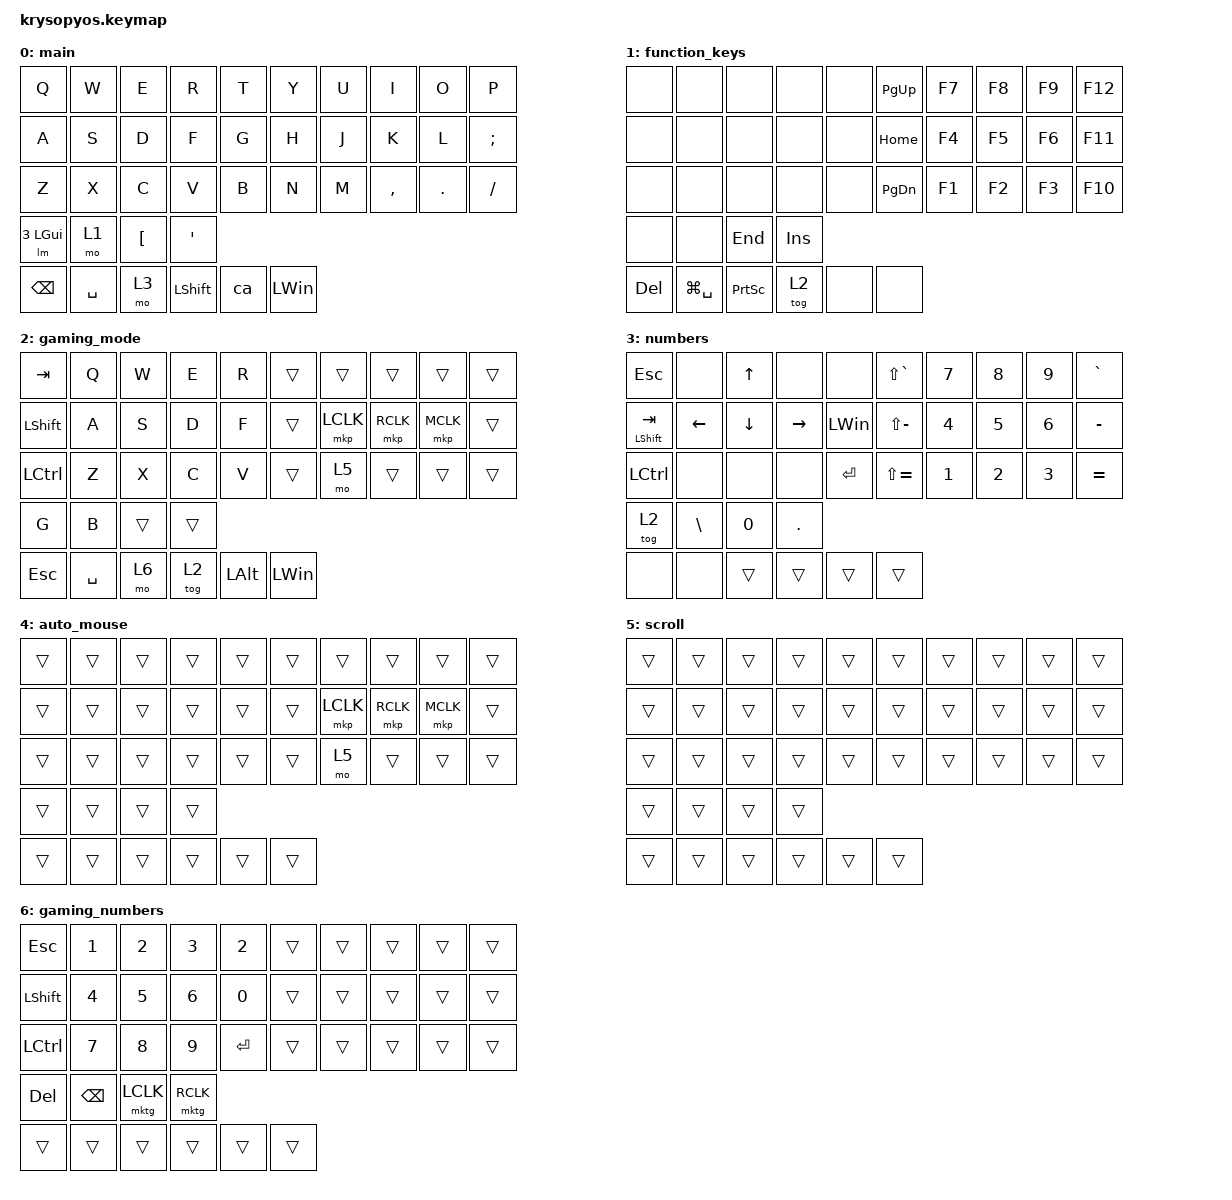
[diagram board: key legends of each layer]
#include <behaviors/mouse_key_toggle.dtsi>
#include <behaviors.dtsi>
#include <dt-bindings/zmk/keys.h>
#include <dt-bindings/zmk/pointing.h>

&soft_off { hold-time-ms = <3000>; };

&mt {
    flavor = "balanced";
    require-prior-idle-ms = <200>;
    tapping-term-ms = <200>;
    quick-tap-ms = <175>;
};

/ {
    behaviors {
        ca: ctrl_alt {
            compatible = "zmk,behavior-tap-dance";
            #binding-cells = <0>;
            tapping-term-ms = <300>;
            bindings = <&kp LCTRL>, <&kp LALT>;
        };
    };

    combos {
        compatible = "zmk,combos";

        rsb {
            bindings = <&kp RIGHT_BRACKET>;
            key-positions = <32 33>;
            timeout-ms = <100>;
            require-prior-idle-ms = <100>;
            layers = <0>;
        };

        t {
            bindings = <&kp T>;
            key-positions = <30 31>;
            layers = <2>;
            timeout-ms = <100>;
            require-prior-idle-ms = <100>;
        };
    };

    macros {
        lm: lm {
            compatible = "zmk,behavior-macro-two-param";
            wait-ms = <0>;
            tap-ms = <0>;
            #binding-cells = <2>;
            bindings =
                <&macro_param_1to1>,
                <&macro_press>,
                <&mo MACRO_PLACEHOLDER &macro_param_2to1>,
                <&macro_press>,
                <&kp MACRO_PLACEHOLDER>,
                <&macro_pause_for_release>,
                <&macro_param_2to1>,
                <&macro_release>,
                <&kp MACRO_PLACEHOLDER &macro_param_1to1>,
                <&macro_release>,
                <&mo MACRO_PLACEHOLDER>;
        };
    };

    keymap {
        compatible = "zmk,keymap";

        main {
            bindings = <
&kp Q           &kp W      &kp E             &kp R           &kp T  &kp Y         &kp U  &kp I      &kp O    &kp P
&kp A           &kp S      &kp D             &kp F           &kp G  &kp H         &kp J  &kp K      &kp L    &kp SEMI
&kp Z           &kp X      &kp C             &kp V           &kp B  &kp N         &kp M  &kp COMMA  &kp DOT  &kp FSLH
&lm 3 LEFT_GUI  &mo 1      &kp LEFT_BRACKET  &kp SQT
&kp BACKSPACE   &kp SPACE  &mo 3             &kp LEFT_SHIFT  &ca    &kp LEFT_WIN
            >;
        };

        function_keys {
            bindings = <
&none       &none          &none            &none    &none  &kp PAGE_UP    &kp F7  &kp F8  &kp F9  &kp F12
&none       &none          &none            &none    &none  &kp HOME       &kp F4  &kp F5  &kp F6  &kp F11
&none       &none          &none            &none    &none  &kp PAGE_DOWN  &kp F1  &kp F2  &kp F3  &kp F10
&none       &none          &kp END          &kp INS
&kp DELETE  &kp LG(SPACE)  &kp PRINTSCREEN  &tog 2   &none  &none
            >;
        };

        gaming_mode {
            bindings = <
&kp TAB     &kp Q      &kp W   &kp E   &kp R         &trans        &trans     &trans     &trans     &trans
&kp LSHFT   &kp A      &kp S   &kp D   &kp F         &trans        &mkp LCLK  &mkp RCLK  &mkp MCLK  &trans
&kp LCTRL   &kp Z      &kp X   &kp C   &kp V         &trans        &mo 5      &trans     &trans     &trans
&kp G       &kp B      &trans  &trans
&kp ESCAPE  &kp SPACE  &mo 6   &tog 2  &kp LEFT_ALT  &kp LEFT_WIN
            >;
        };

        numbers {
            bindings = <
&kp ESCAPE          &none          &kp UP    &none      &none         &kp LS(GRAVE)  &kp N7  &kp N8  &kp N9  &kp GRAVE
&mt LEFT_SHIFT TAB  &kp LEFT       &kp DOWN  &kp RIGHT  &kp LEFT_WIN  &kp LS(MINUS)  &kp N4  &kp N5  &kp N6  &kp MINUS
&kp LCTRL           &none          &none     &none      &kp ENTER     &kp LS(EQUAL)  &kp N1  &kp N2  &kp N3  &kp EQUAL
&tog 2              &kp BACKSLASH  &kp N0    &kp DOT
&none               &none          &trans    &trans     &trans        &trans
            >;
        };

        auto_mouse {
            bindings = <
&trans  &trans  &trans  &trans  &trans  &trans  &trans     &trans     &trans     &trans
&trans  &trans  &trans  &trans  &trans  &trans  &mkp LCLK  &mkp RCLK  &mkp MCLK  &trans
&trans  &trans  &trans  &trans  &trans  &trans  &mo 5      &trans     &trans     &trans
&trans  &trans  &trans  &trans
&trans  &trans  &trans  &trans  &trans  &trans
            >;
        };

        scroll {
            bindings = <
&trans  &trans  &trans  &trans  &trans  &trans  &trans  &trans  &trans  &trans
&trans  &trans  &trans  &trans  &trans  &trans  &trans  &trans  &trans  &trans
&trans  &trans  &trans  &trans  &trans  &trans  &trans  &trans  &trans  &trans
&trans  &trans  &trans  &trans
&trans  &trans  &trans  &trans  &trans  &trans
            >;
        };

        gaming_numbers {
            bindings = <
&kp ESCAPE        &kp N1         &kp N2      &kp N3      &kp NUMBER_2  &trans  &trans  &trans  &trans  &trans
&kp LEFT_SHIFT    &kp N4         &kp N5      &kp N6      &kp N0        &trans  &trans  &trans  &trans  &trans
&kp LEFT_CONTROL  &kp N7         &kp N8      &kp N9      &kp RET       &trans  &trans  &trans  &trans  &trans
&kp DELETE        &kp BACKSPACE  &mktg LCLK  &mktg RCLK
&trans            &trans         &trans      &trans      &trans        &trans
            >;
        };
    };
};
